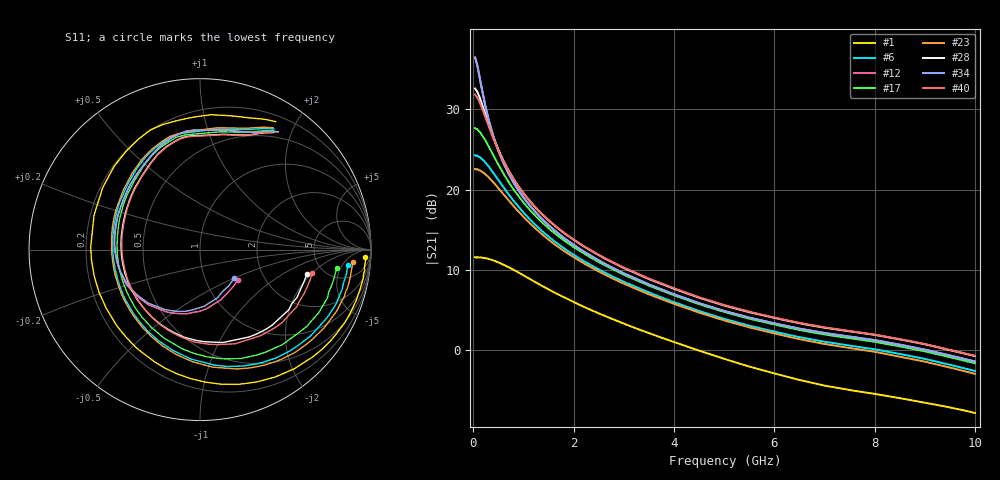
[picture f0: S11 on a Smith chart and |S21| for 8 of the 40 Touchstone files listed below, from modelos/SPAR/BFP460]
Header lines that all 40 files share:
! Infineon Technologies  Discrete & RF Semiconductors
! BFP460
! Common Emitter S-Parameters:  Jan 2016
# GHz  S  MA  R  50
!  f  S11  S21  S12  S22
! GHz  MAG  ANG  MAG  ANG  MAG  ANG  MAG  ANG
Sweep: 30 MHz to 10 GHz
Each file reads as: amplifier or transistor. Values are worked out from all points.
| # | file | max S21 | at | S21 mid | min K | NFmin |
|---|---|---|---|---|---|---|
| 1 | BFP460_w_noise_VCE_1.5V_IC_1.0mA.s2p | 11.6 dB | 70 MHz | 6.7 dB at 1.78 GHz | 0.01 | 0.69 dB |
| 2 | BFP460_w_noise_VCE_1.5V_IC_4.0mA.s2p | 22.6 dB | 30 MHz | 12.0 dB at 1.78 GHz | 0.03 | 0.75 dB |
| 3 | BFP460_w_noise_VCE_1.5V_IC_6.0mA.s2p | 25.6 dB | 30 MHz | 12.9 dB at 1.78 GHz | 0.06 | 0.83 dB |
| 4 | BFP460_w_noise_VCE_1.5V_IC_30mA.s2p | 34.9 dB | 30 MHz | 14.4 dB at 1.78 GHz | 0.21 | 1.47 dB |
| 5 | BFP460_w_noise_VCE_2.0V_IC_4.0mA.s2p | 22.6 dB | 30 MHz | 12.2 dB at 1.78 GHz | 0.03 | 0.73 dB |
| 6 | BFP460_w_noise_VCE_2.0V_IC_5.0mA.s2p | 24.3 dB | 30 MHz | 12.8 dB at 1.78 GHz | 0.05 | 0.77 dB |
| 7 | BFP460_w_noise_VCE_2.0V_IC_10mA.s2p | 29.1 dB | 30 MHz | 13.9 dB at 1.78 GHz | 0.09 | 0.95 dB |
| 8 | BFP460_w_noise_VCE_2.0V_IC_12mA.s2p | 30.3 dB | 30 MHz | 14.1 dB at 1.78 GHz | 0.09 | 1.03 dB |
| 9 | BFP460_w_noise_VCE_2.0V_IC_16mA.s2p | 32.0 dB | 30 MHz | 14.4 dB at 1.78 GHz | 0.12 | 1.13 dB |
| 10 | BFP460_w_noise_VCE_2.0V_IC_30mA.s2p | 34.9 dB | 30 MHz | 14.7 dB at 1.78 GHz | 0.20 | 1.47 dB |
| 11 | BFP460_w_noise_VCE_2.0V_IC_35mA.s2p | 35.5 dB | 30 MHz | 14.7 dB at 1.78 GHz | 0.23 | 1.54 dB |
| 12 | BFP460_w_noise_VCE_2.0V_IC_60mA.s2p | 36.5 dB | 30 MHz | 14.1 dB at 1.78 GHz | 0.35 | 1.86 dB |
| 13 | BFP460_w_noise_VCE_2.0V_IC_70mA.s2p | 36.0 dB | 30 MHz | 13.1 dB at 1.78 GHz | 0.44 | 2.03 dB |
| 14 | BFP460_w_noise_VCE_2.5V_IC_4.0mA.s2p | 22.6 dB | 30 MHz | 12.4 dB at 1.78 GHz | 0.03 | 0.75 dB |
| 15 | BFP460_w_noise_VCE_2.5V_IC_5.0mA.s2p | 24.3 dB | 30 MHz | 12.9 dB at 1.78 GHz | 0.05 | 0.78 dB |
| 16 | BFP460_w_noise_VCE_2.5V_IC_6.0mA.s2p | 25.6 dB | 30 MHz | 13.3 dB at 1.78 GHz | 0.05 | 0.83 dB |
| 17 | BFP460_w_noise_VCE_2.5V_IC_8.0mA.s2p | 27.6 dB | 30 MHz | 13.8 dB at 1.78 GHz | 0.07 | 0.89 dB |
| 18 | BFP460_w_noise_VCE_2.5V_IC_14mA.s2p | 31.2 dB | 30 MHz | 14.4 dB at 1.78 GHz | 0.11 | 1.09 dB |
| 19 | BFP460_w_noise_VCE_2.5V_IC_16mA.s2p | 32.0 dB | 30 MHz | 14.5 dB at 1.78 GHz | 0.12 | 1.13 dB |
| 20 | BFP460_w_noise_VCE_2.5V_IC_40mA.s2p | 35.8 dB | 30 MHz | 14.8 dB at 1.78 GHz | 0.23 | 1.63 dB |
| 21 | BFP460_w_noise_VCE_2.5V_IC_45mA.s2p | 36.1 dB | 30 MHz | 14.8 dB at 1.78 GHz | 0.26 | 1.72 dB |
| 22 | BFP460_w_noise_VCE_3.0V_IC_2.0mA.s2p | 17.2 dB | 70 MHz | 10.2 dB at 1.78 GHz | 0.02 | 0.68 dB |
| 23 | BFP460_w_noise_VCE_3.0V_IC_4.0mA.s2p | 22.6 dB | 30 MHz | 12.5 dB at 1.78 GHz | 0.04 | 0.75 dB |
| 24 | BFP460_w_noise_VCE_3.0V_IC_8.0mA.s2p | 27.6 dB | 30 MHz | 13.9 dB at 1.78 GHz | 0.07 | 0.89 dB |
| 25 | BFP460_w_noise_VCE_3.0V_IC_12mA.s2p | 30.3 dB | 30 MHz | 14.4 dB at 1.78 GHz | 0.10 | 1.03 dB |
| 26 | BFP460_w_noise_VCE_3.0V_IC_14mA.s2p | 31.2 dB | 30 MHz | 14.5 dB at 1.78 GHz | 0.12 | 1.09 dB |
| 27 | BFP460_w_noise_VCE_3.0V_IC_16mA.s2p | 31.9 dB | 30 MHz | 14.6 dB at 1.78 GHz | 0.12 | 1.13 dB |
| 28 | BFP460_w_noise_VCE_3.0V_IC_18mA.s2p | 32.6 dB | 30 MHz | 14.7 dB at 1.78 GHz | 0.14 | 1.13 dB |
| 29 | BFP460_w_noise_VCE_3.0V_IC_25mA.s2p | 34.1 dB | 30 MHz | 14.9 dB at 1.78 GHz | 0.17 | 1.36 dB |
| 30 | BFP460_w_noise_VCE_3.0V_IC_30mA.s2p | 34.9 dB | 30 MHz | 14.9 dB at 1.78 GHz | 0.19 | 1.47 dB |
| 31 | BFP460_w_noise_VCE_3.0V_IC_35mA.s2p | 35.4 dB | 30 MHz | 14.9 dB at 1.78 GHz | 0.21 | 1.56 dB |
| 32 | BFP460_w_noise_VCE_3.0V_IC_40mA.s2p | 35.8 dB | 30 MHz | 14.9 dB at 1.78 GHz | 0.23 | 1.63 dB |
| 33 | BFP460_w_noise_VCE_3.0V_IC_50mA.s2p | 36.3 dB | 30 MHz | 14.8 dB at 1.78 GHz | 0.27 | 1.78 dB |
| 34 | BFP460_w_noise_VCE_3.0V_IC_70mA.s2p | 36.4 dB | 30 MHz | 14.1 dB at 1.78 GHz | 0.36 | 2.03 dB |
| 35 | BFP460_w_noise_VCE_4.0V_IC_3.0mA.s2p | 20.3 dB | 30 MHz | 11.7 dB at 1.78 GHz | 0.05 | 0.71 dB |
| 36 | BFP460_w_noise_VCE_4.0V_IC_4.0mA.s2p | 22.5 dB | 30 MHz | 12.6 dB at 1.78 GHz | 0.07 | 0.75 dB |
| 37 | BFP460_w_noise_VCE_4.0V_IC_5.0mA.s2p | 24.2 dB | 30 MHz | 13.1 dB at 1.78 GHz | 0.07 | 0.78 dB |
| 38 | BFP460_w_noise_VCE_4.0V_IC_6.0mA.s2p | 25.6 dB | 30 MHz | 13.5 dB at 1.78 GHz | 0.09 | 0.83 dB |
| 39 | BFP460_w_noise_VCE_4.0V_IC_12mA.s2p | 30.2 dB | 30 MHz | 14.5 dB at 1.78 GHz | 0.14 | 1.03 dB |
| 40 | BFP460_w_noise_VCE_4.0V_IC_16mA.s2p | 31.8 dB | 30 MHz | 14.7 dB at 1.78 GHz | 0.15 | 1.13 dB |

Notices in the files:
3_Circuitos_sintonizados/5_Ejercicios/1_entrega/borradores/ejercicios1/modelos/SPAR/BFP460/BFP460_w_noise_VCE_1.5V_IC_1.0mA.s2p:
(c) 2016  Infineon Technologies AG, Munich
